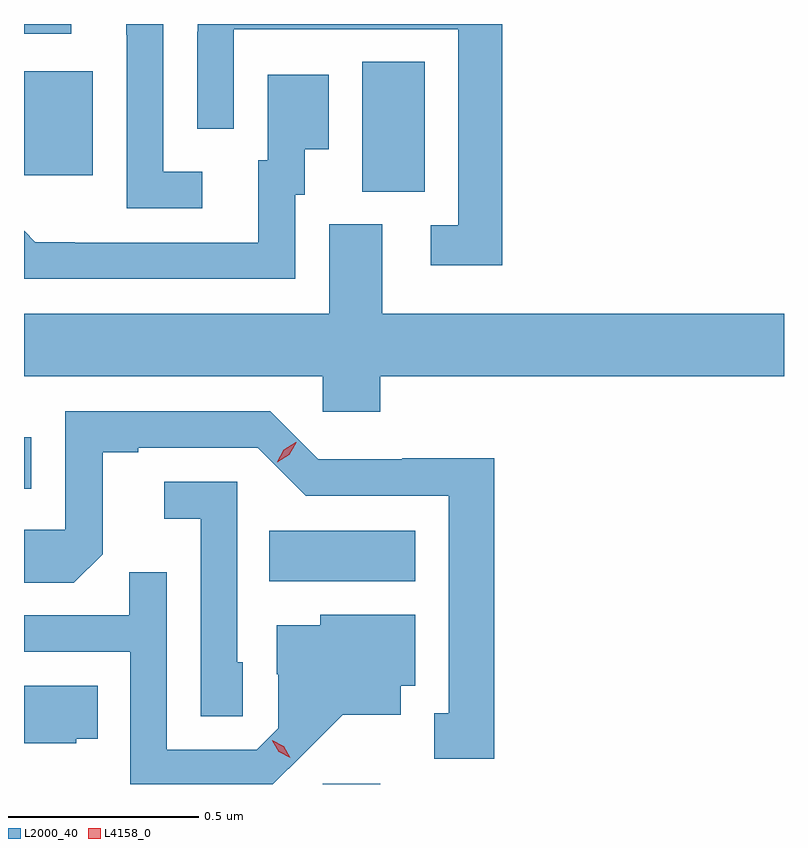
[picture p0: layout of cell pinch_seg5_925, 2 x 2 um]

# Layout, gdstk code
import gdstk
lib = gdstk.Library(unit=1e-6, precision=1e-09)
def R(c, l, rs):  # rectangles x0, y0, x1, y1
    for r in rs: c.add(gdstk.rectangle(r[:2], r[2:], *l))
def P(c, l, *ps):  # polygons
    for p in ps: c.add(gdstk.Polygon(p, *l))
L2000_40 = (2000, 40)
L4158_0 = (4158, 0)

pinch_seg5_925 = lib.new_cell('pinch_seg5_925')
R(pinch_seg5_925, L2000_40, [(684.294,911.631,684.446,911.632), (684.154,912.164,684.538,912.298), (683.508,912.408,683.527,912.544), (684.398,913.189,684.562,913.532), (683.508,913.233,683.689,913.507), (683.508,913.605,683.632,913.631)])
P(pinch_seg5_925, L2000_40, [(683.977,913.242),(683.874,913.242),(683.874,913.631),(683.777,913.631),(683.777,913.603),(683.778,913.603),(683.778,913.146),(683.977,913.146)],
  [(684.767,913.631),(683.965,913.631),(683.965,913.61),(683.964,913.61),(683.964,913.356),(684.06,913.356),(684.06,913.617),(684.651,913.617),(684.651,913.101),(684.579,913.101),(684.579,912.996),(684.767,912.996)],
  [(684.222,913.182),(684.247,913.182),(684.247,913.301),(684.31,913.301),(684.31,913.498),(684.149,913.498),(684.149,913.272),(684.125,913.272),(684.125,913.056),(683.641,913.056),(683.641,913.057),(683.538,913.057),(683.508,913.087),(683.508,912.96),(684.222,912.96)],
  [(684.446,912.704),(685.508,912.704),(685.508,912.868),(684.451,912.868),(684.451,913.104),(684.311,913.104),(684.311,912.868),(683.508,912.868),(683.508,912.704),(684.294,912.704),(684.294,912.611),(684.446,912.611)],
  [(684.745,912.488),(684.504,912.488),(684.504,912.486),(684.282,912.486),(684.156,912.612),(683.616,912.612),(683.616,912.3),(683.508,912.3),(683.508,912.16),(683.639,912.16),(683.715,912.236),(683.715,912.504),(683.809,912.504),(683.809,912.516),(684.123,912.516),(684.249,912.39),(684.626,912.39),(684.626,911.817),(684.587,911.817),(684.587,911.697),(684.745,911.697)],
  [(684.084,911.952),(684.069,911.952),(684.069,912.426),(683.877,912.426),(683.877,912.329),(683.973,912.329),(683.973,911.809),(684.084,911.809)],
  [(684.244,911.711),(684.347,911.813),(684.499,911.813),(684.499,911.889),(684.538,911.889),(684.538,912.076),(684.288,912.076),(684.288,912.049),(684.173,912.049),(684.173,911.92),(684.177,911.92),(684.177,911.778),(684.12,911.721),(683.883,911.721),(683.883,912.188),(683.785,912.188),(683.785,912.075),(683.508,912.075),(683.508,911.979),(683.787,911.979),(683.787,911.631),(684.163,911.631)],
  [(683.646,911.75),(683.702,911.75),(683.702,911.89),(683.508,911.89),(683.508,911.738),(683.646,911.738)])
P(pinch_seg5_925, L4158_0, [(684.174,912.478),(684.174,912.479),(684.192,912.511),(684.223,912.53),(684.224,912.53),(684.224,912.529),(684.206,912.497),(684.174,912.478)],
  [(684.208,911.7),(684.178,911.716),(684.161,911.745),(684.161,911.746),(684.161,911.746),(684.192,911.73),(684.209,911.7),(684.209,911.7)])

lib.write_gds('pinch_seg5_925.gds')
